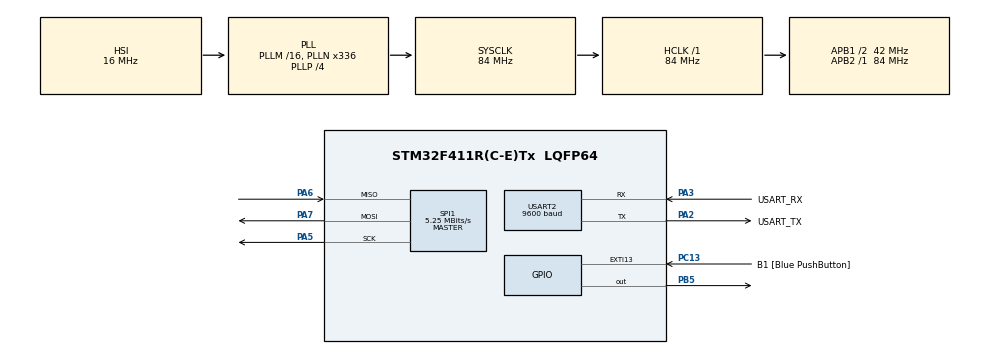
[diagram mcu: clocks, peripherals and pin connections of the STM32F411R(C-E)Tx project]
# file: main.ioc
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FATFS._CODE_PAGE=437
FATFS._FS_EXFAT=1
FATFS._LFN_UNICODE=0
FATFS._USE_LFN=2
FATFS._USE_MKFS=0
FATFS._USE_STRFUNC=0
Mcu.Family=STM32F4
Mcu.Name=STM32F411R(C-E)Tx
Mcu.Package=LQFP64
NVIC.PriorityGroup=NVIC_PRIORITYGROUP_0
PA13.GPIO_Label=TMS
PA13.Signal=SYS_JTMS-SWDIO
PA14.GPIO_Label=TCK
PA14.Signal=SYS_JTCK-SWCLK
PA2.GPIO_Label=USART_TX
PA2.Mode=Asynchronous
PA2.Signal=USART2_TX
PA3.GPIO_Label=USART_RX
PA3.Mode=Asynchronous
PA3.Signal=USART2_RX
PA5.Mode=Full_Duplex_Master
PA5.Signal=SPI1_SCK
PA6.Mode=Full_Duplex_Master
PA6.Signal=SPI1_MISO
PA7.Mode=Full_Duplex_Master
PA7.Signal=SPI1_MOSI
PB3.GPIO_Label=SWO
PB3.Signal=SYS_JTDO-SWO
PB5.Signal=GPIO_Output
PC13-ANTI_TAMP.GPIO_Label=B1 [Blue PushButton]
PC13-ANTI_TAMP.GPIO_ModeDefaultEXTI=GPIO_MODE_IT_FALLING
PC13-ANTI_TAMP.Signal=GPXTI13
PC14-OSC32_IN.Signal=RCC_OSC32_IN
PC15-OSC32_OUT.Signal=RCC_OSC32_OUT
PH0\ -\ OSC_IN.Signal=RCC_OSC_IN
PH1\ -\ OSC_OUT.Signal=RCC_OSC_OUT
ProjectManager.HeapSize=0x200
ProjectManager.StackSize=0x400
ProjectManager.TargetToolchain=Makefile
RCC.48MHZClocksFreq_Value=84000000
RCC.AHBFreq_Value=84000000
RCC.APB1CLKDivider=RCC_HCLK_DIV2
RCC.APB1Freq_Value=42000000
RCC.APB1TimFreq_Value=84000000
RCC.APB2Freq_Value=84000000
RCC.APB2TimFreq_Value=84000000
RCC.CortexFreq_Value=84000000
RCC.FLatency-AdvancedSettings=FLASH_LATENCY_2
RCC.HCLKFreq_Value=84000000
RCC.HSE_VALUE=8000000
RCC.HSI_VALUE=16000000
RCC.LSE_VALUE=32768
RCC.PLLN=336
RCC.PLLP=RCC_PLLP_DIV4
RCC.SYSCLKFreq_VALUE=84000000
RCC.SYSCLKSource=RCC_SYSCLKSOURCE_PLLCLK
RCC.VCOOutputFreq_Value=336000000
SPI1.BaudRatePrescaler=SPI_BAUDRATEPRESCALER_16
SPI1.CalculateBaudRate=5.25 MBits/s
SPI1.Direction=SPI_DIRECTION_2LINES
SPI1.Mode=SPI_MODE_MASTER
SPI1.VirtualType=VM_MASTER
USART2.BaudRate=9600
USART2.VirtualMode=VM_ASYNC
VP_FATFS_VS_Generic.Mode=User_defined
board=NUCLEO-F411RE

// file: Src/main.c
#include "main.h"
#include "stm32f4xx_hal.h"

/* USER CODE BEGIN Includes */
/* vim: set ai et ts=4 sw=4: */
#include <string.h>
#include <stdarg.h>
#include "fatfs.h"
#include "ff.h"
/* USER CODE END Includes */

SPI_HandleTypeDef hspi1;

UART_HandleTypeDef huart2;

/* USER CODE BEGIN PV */
/* Private variables ---------------------------------------------------------*/

/* USER CODE END PV */

void SystemClock_Config(void);
static void MX_GPIO_Init(void);
static void MX_SPI1_Init(void);
static void MX_USART2_UART_Init(void);

/* USER CODE BEGIN PFP */
/* Private function prototypes -----------------------------------------------*/

/* USER CODE END PFP */

/* USER CODE BEGIN 0 */

void UART_Printf(const char* fmt, ...) {
    char buff[256];
    va_list args;
    va_start(args, fmt);
    vsnprintf(buff, sizeof(buff), fmt, args);
    HAL_UART_Transmit(&huart2, (uint8_t*)buff, strlen(buff), HAL_MAX_DELAY);
    va_end(args);
}

void init() {
    FATFS fs;
    FRESULT res;
    UART_Printf("Ready!\r\n");

    // mount the default drive
    res = f_mount(&fs, "", 0);
    if(res != FR_OK) {
        UART_Printf("f_mount() failed, res = %d\r\n", res);
        return;
    }

    UART_Printf("f_mount() done!\r\n");

    uint32_t freeClust;
    FATFS* fs_ptr = &fs;
    res = f_getfree("", &freeClust, &fs_ptr); // Warning! This fills fs.n_fatent and fs.csize!
    if(res != FR_OK) {
        UART_Printf("f_getfree() failed, res = %d\r\n", res);
        return;
    }

    UART_Printf("f_getfree() done!\r\n");

    uint32_t totalBlocks = (fs.n_fatent - 2) * fs.csize;
    uint32_t freeBlocks = freeClust * fs.csize;

    UART_Printf("Total blocks: %lu (%lu Mb)\r\n", totalBlocks, totalBlocks / 2000);
    UART_Printf("Free blocks: %lu (%lu Mb)\r\n", freeBlocks, freeBlocks / 2000);

    DIR dir;
    res = f_opendir(&dir, "/");
    if(res != FR_OK) {
        UART_Printf("f_opendir() failed, res = %d\r\n", res);
        return;
    }

    FILINFO fileInfo;
    uint32_t totalFiles = 0;
    uint32_t totalDirs = 0;
    UART_Printf("--------\r\nRoot directory:\r\n");
    for(;;) {
        res = f_readdir(&dir, &fileInfo);
        if((res != FR_OK) || (fileInfo.fname[0] == '\0')) {
            break;
        }

        if(fileInfo.fattrib & AM_DIR) {
            UART_Printf("  DIR  %s\r\n", fileInfo.fname);
            totalDirs++;
        } else {
            UART_Printf("  FILE %s\r\n", fileInfo.fname);
            totalFiles++;
        }
    }

    UART_Printf("(total: %lu dirs, %lu files)\r\n--------\r\n", totalDirs, totalFiles);

    res = f_closedir(&dir);
    if(res != FR_OK) {
        UART_Printf("f_closedir() failed, res = %d\r\n", res);
        return;
    }

    UART_Printf("Writing to log.txt...\r\n");

    char writeBuff[128];
    snprintf(writeBuff, sizeof(writeBuff), "Total blocks: %lu (%lu Mb); Free blocks: %lu (%lu Mb)\r\n",
        totalBlocks, totalBlocks / 2000,
        freeBlocks, freeBlocks / 2000);

    FIL logFile;
    res = f_open(&logFile, "log.txt", FA_OPEN_APPEND | FA_WRITE);
    if(res != FR_OK) {
        UART_Printf("f_open() failed, res = %d\r\n", res);
        return;
    }

    unsigned int bytesToWrite = strlen(writeBuff);
    unsigned int bytesWritten;
    res = f_write(&logFile, writeBuff, bytesToWrite, &bytesWritten);
    if(res != FR_OK) {
        UART_Printf("f_write() failed, res = %d\r\n", res);
        return;
    }

    if(bytesWritten < bytesToWrite) {
        UART_Printf("WARNING! Disk is full, bytesToWrite = %lu, bytesWritten = %lu\r\n", bytesToWrite, bytesWritten);
    }

    res = f_close(&logFile);
    if(res != FR_OK) {
        UART_Printf("f_close() failed, res = %d\r\n", res);
        return;
    }

    UART_Printf("Reading file...\r\n");
    FIL msgFile;
    res = f_open(&msgFile, "log.txt", FA_READ);
    if(res != FR_OK) {
        UART_Printf("f_open() failed, res = %d\r\n", res);
        return;
    }

    char readBuff[128];
    unsigned int bytesRead;
    res = f_read(&msgFile, readBuff, sizeof(readBuff)-1, &bytesRead);
    if(res != FR_OK) {
        UART_Printf("f_read() failed, res = %d\r\n", res);
        return;
    }

    readBuff[bytesRead] = '\0';
    UART_Printf("```\r\n%s\r\n```\r\n", readBuff);

    res = f_close(&msgFile);
    if(res != FR_OK) {
        UART_Printf("f_close() failed, res = %d\r\n", res);
        return;
    }

    // Unmount
    res = f_mount(NULL, "", 0);
    if(res != FR_OK) {
        UART_Printf("Unmount failed, res = %d\r\n", res);
        return;
    }

    UART_Printf("Done!\r\n");
}

void loop() {
    HAL_Delay(500);
}

/* USER CODE END 0 */

int main(void)
{

  /* MCU Configuration----------------------------------------------------------*/

  /* Reset of all peripherals, Initializes the Flash interface and the Systick. */
  HAL_Init();

  /* Configure the system clock */
  SystemClock_Config();

  /* Initialize all configured peripherals */
  MX_GPIO_Init();
  MX_SPI1_Init();
  MX_USART2_UART_Init();
  MX_FATFS_Init();

  /* Infinite loop */
  /* USER CODE BEGIN WHILE */
  init();
  while (1)
  {
    loop();
  /* USER CODE END WHILE */

  }

}

/** System Clock Configuration
*/
void SystemClock_Config(void)
{

  RCC_OscInitTypeDef RCC_OscInitStruct;
  RCC_ClkInitTypeDef RCC_ClkInitStruct;

    /**Configure the main internal regulator output voltage
    */
  __HAL_RCC_PWR_CLK_ENABLE();

  __HAL_PWR_VOLTAGESCALING_CONFIG(PWR_REGULATOR_VOLTAGE_SCALE1);

    /**Initializes the CPU, AHB and APB busses clocks
    */
  RCC_OscInitStruct.OscillatorType = RCC_OSCILLATORTYPE_HSI;
  RCC_OscInitStruct.HSIState = RCC_HSI_ON;
  RCC_OscInitStruct.HSICalibrationValue = 16;
  RCC_OscInitStruct.PLL.PLLState = RCC_PLL_ON;
  RCC_OscInitStruct.PLL.PLLSource = RCC_PLLSOURCE_HSI;
  RCC_OscInitStruct.PLL.PLLM = 16;
  RCC_OscInitStruct.PLL.PLLN = 336;
  RCC_OscInitStruct.PLL.PLLP = RCC_PLLP_DIV4;
  RCC_OscInitStruct.PLL.PLLQ = 4;
  if (HAL_RCC_OscConfig(&RCC_OscInitStruct) != HAL_OK)
  {
    _Error_Handler(__FILE__, __LINE__);
  }

    /**Initializes the CPU, AHB and APB busses clocks
    */
  RCC_ClkInitStruct.ClockType = RCC_CLOCKTYPE_HCLK|RCC_CLOCKTYPE_SYSCLK
                              |RCC_CLOCKTYPE_PCLK1|RCC_CLOCKTYPE_PCLK2;
  RCC_ClkInitStruct.SYSCLKSource = RCC_SYSCLKSOURCE_PLLCLK;
  RCC_ClkInitStruct.AHBCLKDivider = RCC_SYSCLK_DIV1;
  RCC_ClkInitStruct.APB1CLKDivider = RCC_HCLK_DIV2;
  RCC_ClkInitStruct.APB2CLKDivider = RCC_HCLK_DIV1;

  if (HAL_RCC_ClockConfig(&RCC_ClkInitStruct, FLASH_LATENCY_2) != HAL_OK)
  {
    _Error_Handler(__FILE__, __LINE__);
  }

    /**Configure the Systick interrupt time
    */
  HAL_SYSTICK_Config(HAL_RCC_GetHCLKFreq()/1000);

    /**Configure the Systick
    */
  HAL_SYSTICK_CLKSourceConfig(SYSTICK_CLKSOURCE_HCLK);

  /* SysTick_IRQn interrupt configuration */
  HAL_NVIC_SetPriority(SysTick_IRQn, 0, 0);
}

/* SPI1 init function */
static void MX_SPI1_Init(void)
{

  /* SPI1 parameter configuration*/
  hspi1.Instance = SPI1;
  hspi1.Init.Mode = SPI_MODE_MASTER;
  hspi1.Init.Direction = SPI_DIRECTION_2LINES;
  hspi1.Init.DataSize = SPI_DATASIZE_8BIT;
  hspi1.Init.CLKPolarity = SPI_POLARITY_LOW;
  hspi1.Init.CLKPhase = SPI_PHASE_1EDGE;
  hspi1.Init.NSS = SPI_NSS_SOFT;
  hspi1.Init.BaudRatePrescaler = SPI_BAUDRATEPRESCALER_16;
  hspi1.Init.FirstBit = SPI_FIRSTBIT_MSB;
  hspi1.Init.TIMode = SPI_TIMODE_DISABLE;
  hspi1.Init.CRCCalculation = SPI_CRCCALCULATION_DISABLE;
  hspi1.Init.CRCPolynomial = 10;
  if (HAL_SPI_Init(&hspi1) != HAL_OK)
  {
    _Error_Handler(__FILE__, __LINE__);
  }

}

/* USART2 init function */
static void MX_USART2_UART_Init(void)
{

  huart2.Instance = USART2;
  huart2.Init.BaudRate = 9600;
  huart2.Init.WordLength = UART_WORDLENGTH_8B;
  huart2.Init.StopBits = UART_STOPBITS_1;
  huart2.Init.Parity = UART_PARITY_NONE;
  huart2.Init.Mode = UART_MODE_TX_RX;
  huart2.Init.HwFlowCtl = UART_HWCONTROL_NONE;
  huart2.Init.OverSampling = UART_OVERSAMPLING_16;
  if (HAL_UART_Init(&huart2) != HAL_OK)
  {
    _Error_Handler(__FILE__, __LINE__);
  }

}

/** Configure pins as
        * Analog
        * Input
        * Output
        * EVENT_OUT
        * EXTI
*/
static void MX_GPIO_Init(void)
{

  GPIO_InitTypeDef GPIO_InitStruct;

  /* GPIO Ports Clock Enable */
  __HAL_RCC_GPIOC_CLK_ENABLE();
  __HAL_RCC_GPIOH_CLK_ENABLE();
  __HAL_RCC_GPIOA_CLK_ENABLE();
  __HAL_RCC_GPIOB_CLK_ENABLE();

  /*Configure GPIO pin Output Level */
  HAL_GPIO_WritePin(GPIOB, GPIO_PIN_5, GPIO_PIN_RESET);

  /*Configure GPIO pin : B1_Pin */
  GPIO_InitStruct.Pin = B1_Pin;
  GPIO_InitStruct.Mode = GPIO_MODE_IT_FALLING;
  GPIO_InitStruct.Pull = GPIO_NOPULL;
  HAL_GPIO_Init(B1_GPIO_Port, &GPIO_InitStruct);

  /*Configure GPIO pin : PB5 */
  GPIO_InitStruct.Pin = GPIO_PIN_5;
  GPIO_InitStruct.Mode = GPIO_MODE_OUTPUT_PP;
  GPIO_InitStruct.Pull = GPIO_NOPULL;
  GPIO_InitStruct.Speed = GPIO_SPEED_FREQ_LOW;
  HAL_GPIO_Init(GPIOB, &GPIO_InitStruct);

}

void _Error_Handler(char * file, int line)
{
  while(1)
  {
  }
}

/************************ (C) COPYRIGHT STMicroelectronics *****END OF FILE****/
